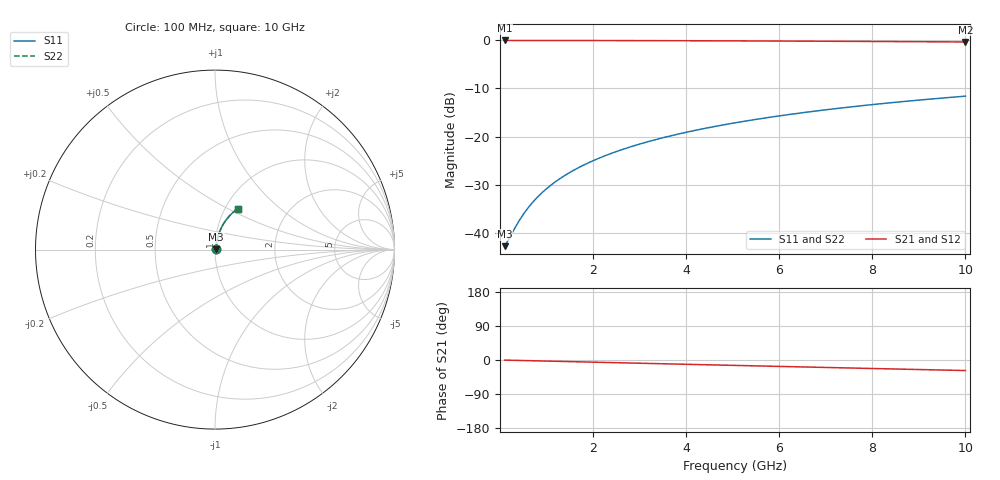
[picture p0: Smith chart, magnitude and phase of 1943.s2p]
# Hz S RI R 50.00
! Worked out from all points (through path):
!   100 points, 100 MHz to 10 GHz, reference 50 ohm
!   highest |S21| = -0.06 dB at 100 MHz (marker M1); lowest = -0.4 dB at 10 GHz (marker M2)
!   group delay of S21, straight-line fit = 7.74 ps
!   lowest |S11| = -42.8 dB at 100 MHz (marker M3), VSWR 1.01, Z = 50.7 + j0.279 ohm
!   |S11| at or under -10 dB: start of sweep to end of sweep
!   |S22| runs from -42.8 to -11.6 dB; largest |S21 - S12| = 0
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1e8  0.00674 0.00276  0.9933 -0.00493  0.9933 -0.00493  0.00674 0.00276
2e8  0.00682 0.00551  0.9932 -0.00985  0.9932 -0.00985  0.00682 0.00551
4e8  0.00704 0.011  0.9929 -0.0197  0.9929 -0.0197  0.00704 0.011
5e8  0.00719 0.0138  0.9927 -0.0246  0.9927 -0.0246  0.00719 0.0138
6e8  0.00736 0.0165  0.9925 -0.0295  0.9925 -0.0295  0.00736 0.0165
7e8  0.00755 0.0193  0.9923 -0.0345  0.9923 -0.0345  0.00755 0.0193
8e8  0.00777 0.022  0.9921 -0.0394  0.9921 -0.0394  0.00777 0.022
1e9  0.00829 0.0275  0.9915 -0.0492  0.9915 -0.0492  0.00829 0.0275
1.2e9  0.00892 0.033  0.9907 -0.059  0.9907 -0.059  0.00892 0.033
1.5e9  0.0101 0.0411  0.9894 -0.0737  0.9894 -0.0737  0.0101 0.0411
1.8e9  0.0114 0.0493  0.9878 -0.0883  0.9878 -0.0883  0.0114 0.0493
2.1e9  0.013 0.0573  0.9859 -0.1029  0.9859 -0.1029  0.013 0.0573
2.5e9  0.0155 0.068  0.9829 -0.1223  0.9829 -0.1223  0.0155 0.068
2.9e9  0.0185 0.0786  0.9795 -0.1416  0.9795 -0.1416  0.0185 0.0786
3.4e9  0.0227 0.0916  0.9745 -0.1654  0.9745 -0.1654  0.0227 0.0916
4.2e9  0.0308 0.1118  0.965 -0.2031  0.965 -0.2031  0.0308 0.1118
5.1e9  0.0416 0.1337  0.9521 -0.2446  0.9521 -0.2446  0.0416 0.1337
5.9e9  0.0528 0.1521  0.9388 -0.2805  0.9388 -0.2805  0.0528 0.1521
6.7e9  0.0653 0.1695  0.9238 -0.3154  0.9238 -0.3154  0.0653 0.1695
7.5e9  0.0791 0.1858  0.9073 -0.3492  0.9073 -0.3492  0.0791 0.1858
8.4e9  0.0958 0.2027  0.8871 -0.3858  0.8871 -0.3858  0.0958 0.2027
1e10  0.1284 0.2287  0.8472 -0.447  0.8472 -0.447  0.1284 0.2287
